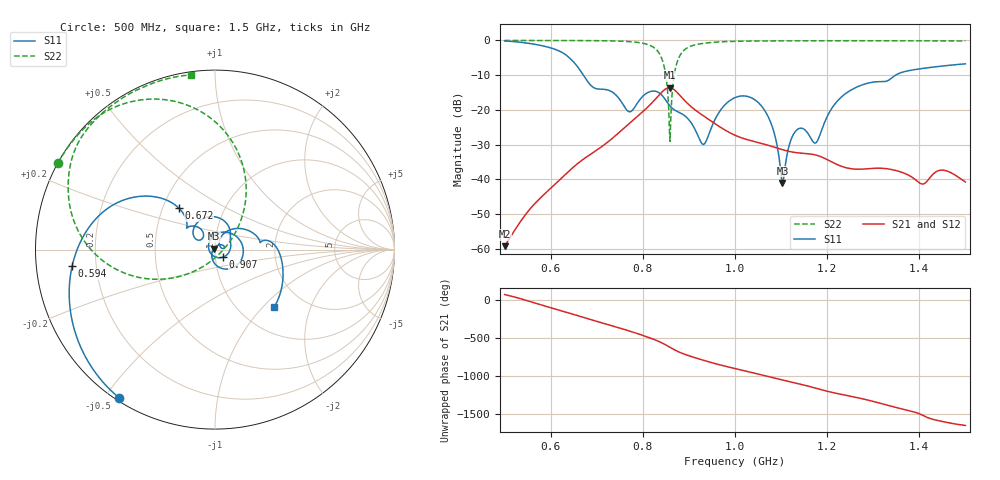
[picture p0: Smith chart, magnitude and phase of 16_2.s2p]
! TOUCHSTONE file generated by CST MICROWAVE STUDIO
! Date and time: Fri Oct  2 16:30:49 2020
! Project name: Scenario_1_Free_Space_out_of_line.cst
! Parameters = {Lambda=346.42; Step_1=17.321; dy1=87.525; dx1=346; L_HA=400; MT=2.54; Rad_Dielectric=30; Rad_Lower=7.3; Rad_Upper=30; a_HA=580; a_WG=246; b_HA=500; b_WG=121; c_HA=0; c_WG=187; d_feed=85; h_feed=15; h_lower=18; h_upper=40}
! Header version: 2018
! Port assignment regex: !\s*Touchstone port\s*([0-9]+)\s*=\s*(CST MWS port|CST DS port)\s*([0-9]+|Zmin|Zmax)\s*\(\"(.*)\"\)(\s*mode\s*([0-9]+))?.*
! Touchstone port assignment:
! Touchstone port 1 = CST MWS port 1 ("")
! Touchstone port 2 = CST MWS port 2 ("")
# GHz S DB R 50
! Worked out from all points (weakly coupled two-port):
!   1003 points, 500 MHz to 1.5 GHz, reference 50 ohm
!   highest |S21| = -13.62 dB at 858 MHz (marker M1); lowest = -59.3 dB at 500 MHz (marker M2)
!   lowest |S11| = -41.1 dB at 1.103 GHz (marker M3), VSWR 1.02, Z = 49.2 + j0.426 ohm
!   |S11| at or under -10 dB: 670.9 MHz to 1.349 GHz (677.7 MHz wide, 67.1 % of centre)
!   |S22| runs from -29.1 to 0.0 dB; largest |S21 - S12| = 0
!   S11 on the Smith chart (normalised r, x): 500 MHz: 0.01, -0.55; 594 MHz: 0.11, -0.06; 672 MHz: 0.60, +0.31; 907 MHz: 1.09, -0.09; 1.5 GHz: 1.43, -1.16
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0.5  -0.14 -122.7  -59.31 77.4  -59.31 77.4  -0.01 151.1
0.594  -1.93 -173.5  -43.36 -85.4  -43.36 -85.4  -0.02 144.6
0.636  -4.49 153.5  -38.11 -159.1  -38.11 -159.1  -0.03 141.2
0.667  -9.21 132.3  -34.62 143.5  -34.62 143.5  -0.04 138.3
0.672  -10.23 131.1  -34.13 134.2  -34.13 134.2  -0.05 137.8
0.77  -20.55 136.9  -24.00 -41.2  -24.00 -41.2  -0.34 122.9
0.834  -14.98 82.9  -15.91 -179.0  -15.91 -179.0  -3.41 86.6
0.847  -16.71 57.2  -14.20 142.5  -14.20 142.5  -8.00 64.2
0.858  -18.75 41.9  -13.62 104.9  -13.62 104.9  -27.09 -4.4
0.876  -20.56 21.3  -15.21 46.7  -15.21 46.7  -5.66 -165.5
0.907  -24.17 -42.8  -19.35 -23.3  -19.35 -23.3  -1.51 163.9
0.933  -29.89 -160.4  -21.88 -71.6  -21.88 -71.6  -0.81 153.6
1  -16.49 17.6  -27.33 -178.2  -27.33 -178.2  -0.25 140.4
1.066  -20.52 -81.5  -29.99 85.7  -29.99 85.7  -0.15 132.8
1.085  -26.65 -112.0  -30.75 57.2  -30.75 57.2  -0.13 131.0
1.103  -41.08 150.6  -31.49 31.0  -31.49 31.0  -0.12 129.4
1.131  -26.24 31.6  -32.31 -8.2  -32.31 -8.2  -0.11 127.1
1.167  -28.72 13.9  -32.80 -63.0  -32.80 -63.0  -0.10 124.2
1.238  -15.53 44.7  -36.59 -167.4  -36.59 -167.4  -0.08 118.8
1.334  -11.42 10.5  -37.07 53.3  -37.07 53.3  -0.09 111.5
1.405  -8.11 -15.8  -41.36 -67.0  -41.36 -67.0  -0.10 105.9
1.5  -6.74 -44.2  -40.81 152.0  -40.81 152.0  -0.15 98.0
